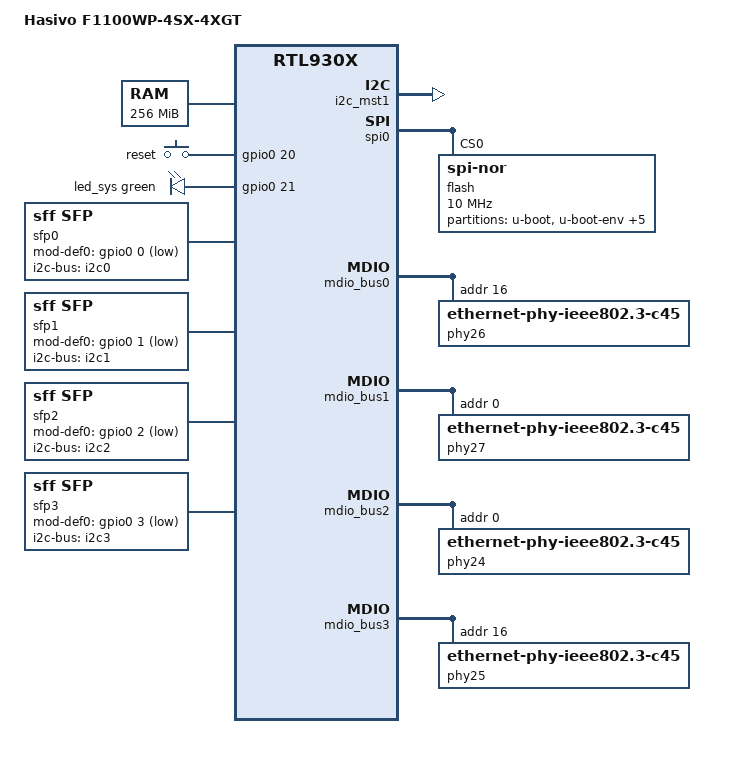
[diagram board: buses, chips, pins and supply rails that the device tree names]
// SPDX-License-Identifier: GPL-2.0-or-later
/dts-v1/;

#include "rtl930x.dtsi"

#include <dt-bindings/input/input.h>
#include <dt-bindings/gpio/gpio.h>
#include <dt-bindings/leds/common.h>

/ {
	compatible = "hasivo,f1100wp-4sx-4xgt", "realtek,rtl930x-soc";
	model = "Hasivo F1100WP-4SX-4XGT";

	memory@0 {
		device_type = "memory";
		reg = <0x00000000 0x10000000>; /* 256 MiB */
	};

	aliases {
		led-boot = &led_sys;
		led-failsafe = &led_sys;
		led-running = &led_sys;
		led-upgrade = &led_sys;
	};

	chosen {
		stdout-path = "serial0:38400n8";
	};

	keys {
		compatible = "gpio-keys";

		button-reset {
			label = "reset";
			gpios = <&gpio0 20 GPIO_ACTIVE_HIGH>;
			linux,code = <KEY_RESTART>;
		};
	};

	leds {
		compatible = "gpio-leds";

		led_sys: led-0 {
			gpios = <&gpio0 21 GPIO_ACTIVE_HIGH>;
			color = <LED_COLOR_ID_GREEN>;
			function = LED_FUNCTION_STATUS;
		};
	};

	led_set {
		compatible = "realtek,rtl9300-leds";

		led_set0 = <
			(RTL93XX_LED_SET_NONE)
			(RTL93XX_LED_SET_10M | RTL93XX_LED_SET_100M | RTL93XX_LED_SET_1G | RTL93XX_LED_SET_2P5G | RTL93XX_LED_SET_5G | RTL93XX_LED_SET_LINK | RTL93XX_LED_SET_ACT)
			(RTL93XX_LED_SET_10G | RTL93XX_LED_SET_LINK | RTL93XX_LED_SET_ACT)
		>;
	};

	/* i2c_scl23_sda22 {
		compatible = "i2c-gpio";
		#address-cells = <1>;
		#size-cells = <0>;

		scl-gpios = <&gpio0 23 (GPIO_ACTIVE_HIGH | GPIO_OPEN_DRAIN)>;
		sda-gpios = <&gpio0 22 (GPIO_ACTIVE_HIGH | GPIO_OPEN_DRAIN)>;
		status = "okay";

		clock-frequency = <100000>;

		pse0: pse0@d {
			compatible = "hasivo,hs104pti";
			reg = <0x0d>;
			#pse-cells = <1>;
			poll-interval-ms = <500>;
			status = "okay";
		};

		stc8: stc8@4d {
			compatible = "hasivo,stc8-mfd", "syscon";
			reg = <0x4d>;
			#address-cells = <2>;
			#size-cells = <0>;
			hasivo,execute-bit = <0x40>;
			hasivo,execute-bit-registers = <0x01 0x02>;
			status = "okay";

			led_lan5_poe: led@1,0 {
				compatible = "register-bit-led";
				reg = <0x01 0x00>;
				mask = <0x08>;
				label = "orange:lan1_poe";
				linux,default-trigger = "pse0:port0:delivering";
				default-state = "off";
			};

			led_lan6_poe: led@1,1 {
				compatible = "register-bit-led";
				reg = <0x01 0x01>;
				mask = <0x04>;
				label = "orange:lan2_poe";
				linux,default-trigger = "pse0:port1:delivering";
				default-state = "off";
			};

			led_lan7_poe: led@1,2 {
				compatible = "register-bit-led";
				reg = <0x01 0x02>;
				mask = <0x02>;
				label = "orange:lan3_poe";
				linux,default-trigger = "pse0:port2:delivering";
				default-state = "off";
			};

			led_lan8_poe: led@1,3 {
				compatible = "register-bit-led";
				reg = <0x01 0x03>;
				mask = <0x01>;
				label = "orange:lan4_poe";
				linux,default-trigger = "pse0:port3:delivering";
				default-state = "off";
			};
		};
	}; */

	sfp0: sfp-p1 {
		compatible = "sff,sfp";
		i2c-bus = <&i2c0>;
		mod-def0-gpios = <&gpio0 0 GPIO_ACTIVE_LOW>;
		maximum-power-milliwatt = <2000>;
		#thermal-sensor-cells = <0>;
	};

	sfp1: sfp-p2 {
		compatible = "sff,sfp";
		i2c-bus = <&i2c1>;
		mod-def0-gpios = <&gpio0 1 GPIO_ACTIVE_LOW>;
		maximum-power-milliwatt = <2000>;
		#thermal-sensor-cells = <0>;
	};

	sfp2: sfp-p3 {
		compatible = "sff,sfp";
		i2c-bus = <&i2c2>;
		mod-def0-gpios = <&gpio0 2 GPIO_ACTIVE_LOW>;
		maximum-power-milliwatt = <2000>;
		#thermal-sensor-cells = <0>;
	};

	sfp3: sfp-p4 {
		compatible = "sff,sfp";
		i2c-bus = <&i2c3>;
		mod-def0-gpios = <&gpio0 3 GPIO_ACTIVE_LOW>;
		maximum-power-milliwatt = <2000>;
		#thermal-sensor-cells = <0>;
	};
};

&i2c_mst1 {
	status = "okay";

	i2c0: i2c@0 { reg = <0>; };
	i2c1: i2c@1 { reg = <1>; };
	i2c2: i2c@2 { reg = <2>; };
	i2c3: i2c@3 { reg = <3>; };
};

&spi0 {
	status = "okay";

	flash@0 {
		compatible = "jedec,spi-nor";
		reg = <0>;
		spi-max-frequency = <10000000>;

		partitions {
			compatible = "fixed-partitions";
			#address-cells = <1>;
			#size-cells = <1>;

			partition@0 {
				label = "u-boot";
				reg = <0x0000000 0x00e0000>;
				read-only;
			};

			partition@e0000 {
				label = "u-boot-env";
				reg = <0x00e0000 0x0010000>;
			};

			partition@f0000 {
				label = "u-boot-env2";
				reg = <0x00f0000 0x0010000>;
				read-only;
			};

			partition@100000 {
				label = "jffs";
				reg = <0x0100000 0x0100000>;
			};

			partition@200000 {
				label = "jffs2";
				reg = <0x0200000 0x0100000>;
			};

			partition@300000 {
				compatible = "openwrt,uimage", "denx,uimage";
				label = "firmware";
				reg = <0x0300000 0x0e80000>;
			};

			partition@f00000 {
				label = "oeminfo";
				reg = <0x1180000 0x0e80000>;
				read-only;
			};
		};
	};
};

&mdio_bus0 {
	phy26: ethernet-phy@16 {
		reg = <16>;
		compatible = "ethernet-phy-ieee802.3-c45";
		// pses = <&pse0 2>;
	};
};

&mdio_bus1 {
	phy27: ethernet-phy@0 {
		reg = <0>;
		compatible = "ethernet-phy-ieee802.3-c45";
		// pses = <&pse0 3>;
	};
};

&mdio_bus2 {
	phy24: ethernet-phy@0 {
		reg = <0>;
		compatible = "ethernet-phy-ieee802.3-c45";
		// pses = <&pse0 0>;
	};
};

&mdio_bus3 {
	phy25: ethernet-phy@16 {
		reg = <16>;
		compatible = "ethernet-phy-ieee802.3-c45";
		// pses = <&pse0 1>;
	};
};

&switch0 {
	ethernet-ports {
		#address-cells = <1>;
		#size-cells = <0>;

		port@0 {
			reg = <0>;
			label = "lan1";
			pcs-handle = <&serdes2>;
			phy-mode = "1000base-x";
			sfp = <&sfp0>;
			managed = "in-band-status";
			led-set = <0>;
		};

		port@8 {
			reg = <8>;
			label = "lan2";
			pcs-handle = <&serdes3>;
			phy-mode = "1000base-x";
			sfp = <&sfp1>;
			managed = "in-band-status";
			led-set = <0>;
		};

		port@16 {
			reg = <16>;
			label = "lan3";
			pcs-handle = <&serdes4>;
			phy-mode = "1000base-x";
			sfp = <&sfp2>;
			managed = "in-band-status";
			led-set = <0>;
		};

		port@20 {
			reg = <20>;
			label = "lan4";
			pcs-handle = <&serdes5>;
			phy-mode = "1000base-x";
			sfp = <&sfp3>;
			managed = "in-band-status";
			led-set = <0>;
		};

		port@24 {
			reg = <24>;
			label = "lan5";
			pcs-handle = <&serdes6>;
			phy-handle = <&phy24>;
			phy-mode = "usxgmii";
			led-set = <0>;
		};

		port@25 {
			reg = <25>;
			label = "lan6";
			pcs-handle = <&serdes7>;
			phy-handle = <&phy25>;
			phy-mode = "usxgmii";
			led-set = <0>;
		};

		port@26 {
			reg = <26>;
			label = "lan7";
			pcs-handle = <&serdes8>;
			phy-handle = <&phy26>;
			phy-mode = "usxgmii";
			led-set = <0>;
		};

		port@27 {
			reg = <27>;
			label = "lan8";
			pcs-handle = <&serdes9>;
			phy-handle = <&phy27>;
			phy-mode = "usxgmii";
			led-set = <0>;
		};

		/* Internal SoC */
		port@28 {
			ethernet = <&ethernet0>;
			reg = <28>;
			phy-mode = "internal";

			fixed-link {
				speed = <1000>;
				full-duplex;
			};
		};
	};
};

&thermal_zones {
	sfp-thermal {
		polling-delay-passive = <10000>;
		polling-delay = <10000>;
		thermal-sensors = <&sfp0>, <&sfp1>, <&sfp2>, <&sfp3>;
		trips {
			sfp-crit {
				temperature = <110000>;
				hysteresis = <1000>;
				type = "critical";
			};
		};
	};
};

